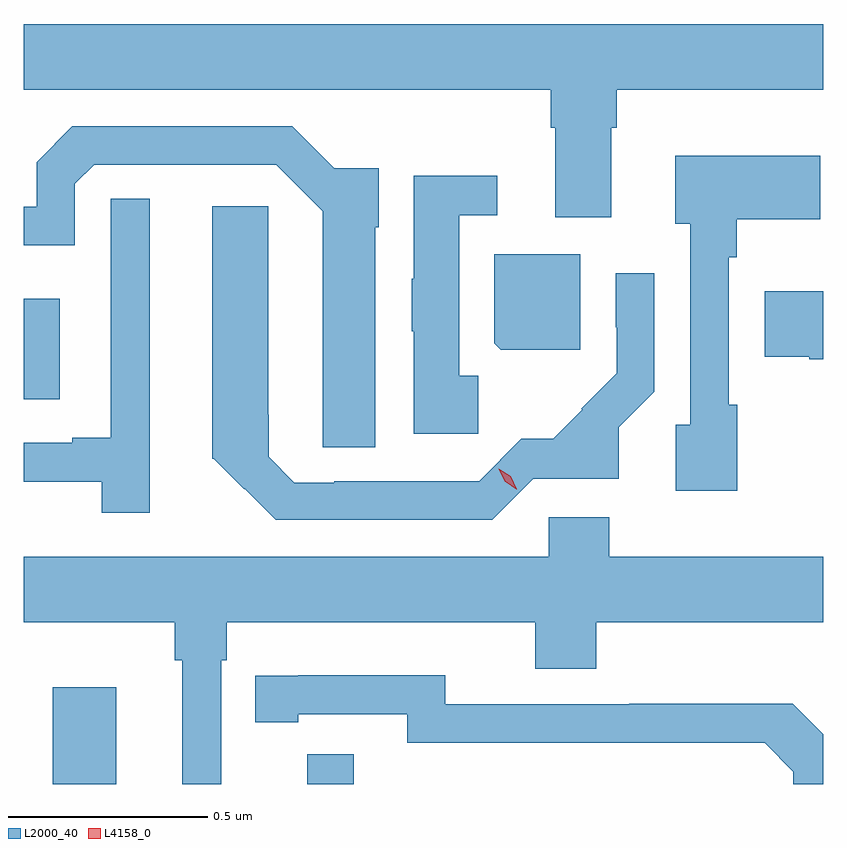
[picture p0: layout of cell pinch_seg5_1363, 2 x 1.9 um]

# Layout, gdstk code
import gdstk
lib = gdstk.Library(unit=1e-6, precision=1e-09)
def R(c, l, rs):  # rectangles x0, y0, x1, y1
    for r in rs: c.add(gdstk.rectangle(r[:2], r[2:], *l))
def P(c, l, *ps):  # polygons
    for p in ps: c.add(gdstk.Polygon(p, *l))
L2000_40 = (2000, 40)
L4158_0 = (4158, 0)

pinch_seg5_1363 = lib.new_cell('pinch_seg5_1363')
R(pinch_seg5_1363, L2000_40, [(324.524,897.647,324.682,897.889), (325.16,897.647,325.277,897.721), (324.451,898.61,324.541,898.861)])
P(pinch_seg5_1363, L2000_40, [(325.921,899.288),(325.934,899.288),(325.934,899.384),(326.451,899.384),(326.451,899.548),(324.451,899.548),(324.451,899.384),(325.769,899.384),(325.769,899.288),(325.781,899.288),(325.781,899.064),(325.921,899.064)],
  [(325.33,899.04),(325.339,899.04),(325.339,899.187),(325.228,899.187),(325.123,899.292),(324.573,899.292),(324.483,899.202),(324.483,899.091),(324.451,899.091),(324.451,898.994),(324.579,898.994),(324.579,899.148),(324.627,899.196),(325.083,899.196),(325.199,899.08),(325.199,898.489),(325.33,898.489)],
  [(326.236,898.595),(326.214,898.595),(326.214,898.964),(326.234,898.964),(326.234,899.06),(326.443,899.06),(326.443,899.218),(326.081,899.218),(326.081,899.048),(326.118,899.048),(326.118,898.545),(326.082,898.545),(326.082,898.38),(326.236,898.38)],
  [(325.588,898.668),(325.54,898.668),(325.54,899.07),(325.636,899.07),(325.636,899.168),(325.427,899.168),(325.427,898.911),(325.421,898.911),(325.421,898.779),(325.427,898.779),(325.427,898.523),(325.588,898.523)],
  [(324.766,899.111),(324.669,899.111),(324.669,898.513),(324.572,898.513),(324.572,898.5),(324.451,898.5),(324.451,898.403),(324.646,898.403),(324.646,898.326),(324.766,898.326)],
  [(325.725,898.41),(325.94,898.41),(325.94,898.539),(326.028,898.628),(326.028,898.924),(325.932,898.924),(325.932,898.79),(325.935,898.79),(325.935,898.674),(325.846,898.585),(325.848,898.583),(325.775,898.51),(325.696,898.51),(325.59,898.404),(325.228,898.404),(325.228,898.401),(325.128,898.401),(325.064,898.466),(325.064,898.57),(325.063,898.57),(325.063,899.092),(324.923,899.092),(324.923,898.461),(324.926,898.461),(325.003,898.384),(325.004,898.385),(325.082,898.308),(325.623,898.308)],
  [(325.843,898.972),(325.628,898.972),(325.628,898.749),(325.644,898.733),(325.843,898.733)],
  [(326.451,898.879),(326.304,898.879),(326.304,898.716),(326.416,898.716),(326.416,898.709),(326.451,898.709)],
  [(324.945,897.956),(324.959,897.956),(324.959,898.052),(325.73,898.052),(325.73,897.935),(325.883,897.935),(325.883,898.052),(326.451,898.052),(326.451,898.216),(325.916,898.216),(325.916,898.314),(325.764,898.314),(325.764,898.216),(324.451,898.216),(324.451,898.052),(324.829,898.052),(324.829,897.956),(324.848,897.956),(324.848,897.647),(324.945,897.647)],
  [(326.451,897.771),(326.374,897.848),(325.966,897.848),(325.966,897.846),(325.506,897.846),(325.506,897.919),(325.138,897.919),(325.138,897.918),(325.03,897.918),(325.03,897.802),(325.138,897.802),(325.138,897.822),(325.41,897.822),(325.41,897.75),(326.304,897.75),(326.376,897.678),(326.376,897.647),(326.451,897.647)])
P(pinch_seg5_1363, L4158_0, [(325.683,898.384),(325.654,898.404),(325.639,898.436),(325.639,898.436),(325.639,898.436),(325.669,898.417),(325.684,898.384),(325.684,898.384)])

lib.write_gds('pinch_seg5_1363.gds')
